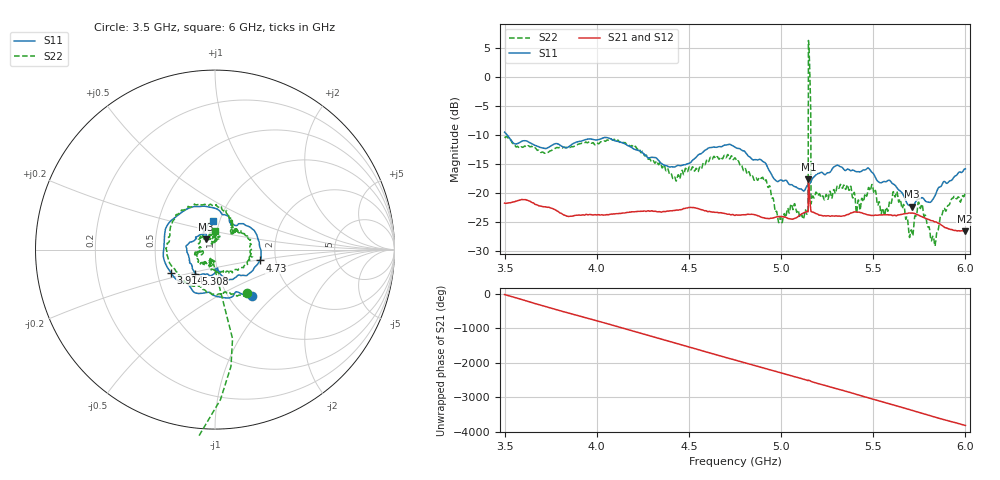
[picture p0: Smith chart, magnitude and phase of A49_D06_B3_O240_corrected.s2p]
! Created with skrf 1.9.0 (http://scikit-rf.org).
# Hz S RI R 50.0
!freq ReS11 ImS11 ReS21 ImS21 ReS12 ImS12 ReS22 ImS22
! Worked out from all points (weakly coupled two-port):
!   1601 points, 3.5 GHz to 6 GHz, reference 50 ohm
!   highest |S21| = -17.71 dB at 5.148 GHz (marker M1); lowest = -26.6 dB at 5.995 GHz (marker M2)
!   lowest |S11| = -22.4 dB at 5.711 GHz (marker M3), VSWR 1.16, Z = 44.9 + j5.1 ohm
!   |S11| at or under -10 dB: 3.513 GHz to end of sweep
!   |S22| runs from -29.2 to 6.2 dB; largest |S21 - S12| = 0.001
!   S11 on the Smith chart (normalised r, x): 3.5 GHz: 1.28, -0.74; 3.914 GHz: 0.59, -0.16; 4.73 GHz: 1.65, -0.21; 5.308 GHz: 0.78, -0.21; 6 GHz: 0.93, +0.30
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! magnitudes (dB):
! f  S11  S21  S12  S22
! 3.5 GHz  -9.6  -21.8  -21.8  -10.3
! 3.914 GHz  -11.1  -23.9  -23.8  -11.5
! 3.917 GHz  -11.1  -23.9  -23.8  -11.5
! 4.334 GHz  -14.4  -23.3  -23.2  -15.2
! 4.73 GHz  -11.8  -23.8  -23.7  -13.7
! 4.75 GHz  -12.1  -23.9  -23.8  -14.0
! 4.911 GHz  -14.8  -24.4  -24.3  -18.1
! 4.994 GHz  -17.9  -24.1  -24.0  -24.5
! 5.112 GHz  -19.5  -23.6  -23.6  -23.8
! 5.134 GHz  -19.2  -23.3  -23.2  -23.1
! 5.148 GHz  -18.6  -17.7  -17.7  6.2
! 5.161 GHz  -18.2  -22.8  -22.7  -5.9
! 5.167 GHz  -17.7  -23.3  -23.3  -21.1
! 5.175 GHz  -17.4  -23.4  -23.3  -20.7
! 5.308 GHz  -15.3  -24.0  -24.0  -18.9
! 5.584 GHz  -17.8  -23.8  -23.8  -22.3
! 5.62 GHz  -18.8  -23.9  -23.9  -20.6
! 5.711 GHz  -22.4  -23.5  -23.4  -27.1
! 5.755 GHz  -21.0  -24.0  -23.9  -22.6
! 5.828 GHz  -20.9  -25.0  -24.9  -27.8
! 5.995 GHz  -15.9  -26.6  -26.5  -20.4
! 6 GHz  -15.9  -26.6  -26.6  -19.8
